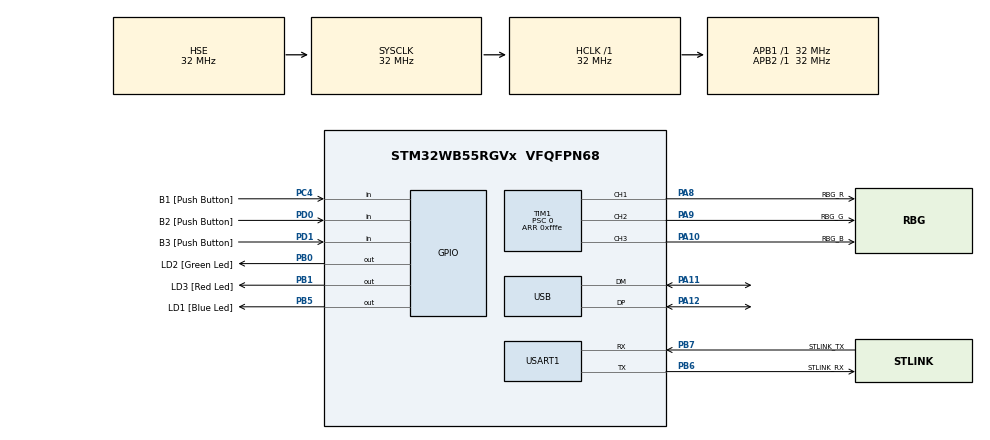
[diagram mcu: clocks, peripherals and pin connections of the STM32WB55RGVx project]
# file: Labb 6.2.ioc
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Mcu.Family=STM32WB
RCC.CortexFreq_Value=32000000
RCC.SMPSCLockSelectionVirtualVirtual=RCC_SMPSCLKSOURCE_HSI
USART1.WordLength=WORDLENGTH_7B
PA14.GPIO_Label=JTCK
PD0.GPIO_Label=B2 [Push Button]
PA11.Mode=Device
PB0.GPIO_Label=LD2 [Green Led]
PB6.GPIO_Label=STLINK_RX
RCC.SYSCLKSource=RCC_SYSCLKSOURCE_HSE
ProjectManager.StackSize=0x400
PA12.Signal=USB_DP
TIM1.Prescaler=0
RCC.HCLKFreq_Value=32000000
RCC.APB2TimFreq_Value=32000000
PB6.Signal=USART1_TX
PB6.Mode=Asynchronous
PD0.Signal=GPIO_Input
OSC_OUT.Mode=HSE-External-Oscillator
OSC_OUT.Signal=RCC_OSC_OUT
RCC.AHBFreq_Value=32000000
RCC.HSE_VALUE=32000000
PB3.Mode=Trace_Asynchronous_SW
PD1.GPIO_Label=B3 [Push Button]
PC14-OSC32_IN.Mode=LSE-External-Oscillator
PC4.GPIO_Label=B1 [Push Button]
TIM1.Channel-PWM\ Generation1\ CH1=TIM_CHANNEL_1
PA14.Mode=Trace_Asynchronous_SW
PB1.GPIO_Label=LD3 [Red Led]
PA10.GPIO_Label=RBG_B
PB7.Signal=USART1_RX
PA8.Signal=S_TIM1_CH1
VP_TIM1_VS_ClockSourceINT.Mode=Internal
RCC.APB3Freq_Value=16000000
PB7.GPIO_Label=STLINK_TX
Mcu.Package=VFQFPN68
PB1.Signal=GPIO_Output
PA10.Signal=S_TIM1_CH3
PB5.GPIO_Label=LD1 [Blue Led]
RCC.APB1TimFreq_Value=32000000
PB0.GPIO_ModeDefaultOutputPP=GPIO_MODE_OUTPUT_PP
TIM1.Period=0xfffe
RCC.SMPSDivider=1
RCC.HSI48_VALUE=48000000
RCC.PLLSAI1N=24
PB3.GPIO_Label=JTDO
PB7.GPIO_PuPd=GPIO_PULLUP
PC15-OSC32_OUT.Mode=LSE-External-Oscillator
PC4.GPIO_PuPd=GPIO_NOPULL
PC13.Signal=SYS_WKUP2
PA9.GPIO_Label=RBG_G
PB6.GPIO_PuPd=GPIO_PULLUP
PC4.Signal=GPIO_Input
PD1.Signal=GPIO_Input
PC14-OSC32_IN.Signal=RCC_OSC32_IN
USART1.VirtualMode-Asynchronous=VM_ASYNC
PA13.Signal=SYS_JTMS-SWDIO
PA8.GPIO_Label=RBG_R
SH.S_TIM1_CH1.0=TIM1_CH1,PWM Generation1 CH1
ProjectManager.TargetToolchain=STM32CubeIDE
PA9.Signal=S_TIM1_CH2
TIM1.Channel-PWM\ Generation2\ CH2=TIM_CHANNEL_2
OSC_IN.Signal=RCC_OSC_IN
RCC.USBFreq_Value=48000000
PC15-OSC32_OUT.Signal=RCC_OSC32_OUT
RCC.SMPSCLockSelectionVirtual=RCC_SMPSCLKSOURCE_HSI
board=NUCLEO-WB55RG
RCC.VCOOutputFreq_Value=128000000
RCC.APB2Freq_Value=32000000
SH.S_TIM1_CH2.0=TIM1_CH2,PWM Generation2 CH2
RCC.ADCFreq_Value=48000000
PA13.Mode=Trace_Asynchronous_SW
PC13.Mode=SYS_WakeUp1
Mcu.Name=STM32WB55RGVx
PA13.GPIO_Label=JTMS
PB3.Signal=SYS_JTDO-SWO
RCC.SYSCLKFreq_VALUE=32000000
PB5.Signal=GPIO_Output
PA12.Mode=Device
OSC_IN.Mode=HSE-External-Oscillator
PB7.Mode=Asynchronous
PA11.Signal=USB_DM
PA14.Signal=SYS_JTCK-SWCLK
ProjectManager.HeapSize=0x200
PD0.GPIO_PuPd=GPIO_PULLUP
SH.S_TIM1_CH3.0=TIM1_CH3,PWM Generation3 CH3
RCC.HSI_VALUE=16000000
NVIC.TIM1_UP_TIM16_IRQn=true\:0\:0\:false\:false\:true\:true\:true
NVIC.PriorityGroup=NVIC_PRIORITYGROUP_4
RCC.PLLN=32
TIM1.Channel-PWM\ Generation3\ CH3=TIM_CHANNEL_3
RCC.APB1Freq_Value=32000000
PB0.Signal=GPIO_Output
PB0.GPIO_PuPd=GPIO_NOPULL

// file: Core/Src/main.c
/* USER CODE BEGIN Header */
/**
 ******************************************************************************
 * @file           : main.c
 * @brief          : Main program body
 ******************************************************************************
 * @attention
 *
 * <h2><center>&copy; Copyright (c) 2021 STMicroelectronics.
 * All rights reserved.</center></h2>
 *
 * This software component is licensed by ST under BSD 3-Clause license,
 * the "License"; You may not use this file except in compliance with the
 * License. You may obtain a copy of the License at:
 *                        opensource.org/licenses/BSD-3-Clause
 *
 ******************************************************************************
 */
/* USER CODE END Header */
#include "main.h"

/* USER CODE BEGIN Includes */
#include "samples.h"
#include "math.h"
#include "stdlib.h"
/* USER CODE END Includes */

/* USER CODE BEGIN PD */
#define _USE_MATH_DEFINES
/* USER CODE END PD */

TIM_HandleTypeDef htim1;

UART_HandleTypeDef huart1;

PCD_HandleTypeDef hpcd_USB_FS;

/* USER CODE BEGIN PV */
static float freq=1;

/* USER CODE END PV */

void SystemClock_Config(void);
static void MX_GPIO_Init(void);
static void MX_USART1_UART_Init(void);
static void MX_USB_PCD_Init(void);
static void MX_TIM1_Init(void);

/* USER CODE BEGIN 0 */
void HAL_TIM_PeriodElapsedCallback(TIM_HandleTypeDef *htim){
	static float time = 0;
	uint16_t value_red   = (uint16_t)((sinf((2*M_PI*time*freq+0)*(2*M_PI/3))+1.0)*500.0);
	uint16_t value_green = (uint16_t)((sinf((2*M_PI*time*freq+1)*(2*M_PI/3))+1.0)*500.0);
	uint16_t value_blue  = (uint16_t)((sinf((2*M_PI*time*freq+2)*(2*M_PI/3))+1.0)*500.0);
	time +=0.001;  // Increase time with 1ms.
	if(time>5)
		time=0.001;

	__HAL_TIM_SET_COMPARE(&htim1,TIM_CHANNEL_1,value_red);
	__HAL_TIM_SET_COMPARE(&htim1,TIM_CHANNEL_2,value_green);
	__HAL_TIM_SET_COMPARE(&htim1,TIM_CHANNEL_3,value_blue);

}
/* USER CODE END 0 */

int main(void)
{

	/* MCU Configuration--------------------------------------------------------*/

	/* Reset of all peripherals, Initializes the Flash interface and the Systick. */
	HAL_Init();

	/* Configure the system clock */
	SystemClock_Config();

	/* Initialize all configured peripherals */
	MX_GPIO_Init();
	MX_USART1_UART_Init();
	MX_USB_PCD_Init();
	MX_TIM1_Init();
	/* USER CODE BEGIN 2 */
	HAL_TIM_Base_Start_IT(&htim1);
	HAL_TIM_PWM_Start(&htim1, TIM_CHANNEL_1);
	HAL_TIM_PWM_Start(&htim1, TIM_CHANNEL_2);
	HAL_TIM_PWM_Start(&htim1, TIM_CHANNEL_3);
	/* USER CODE END 2 */

	/* Infinite loop */
	/* USER CODE BEGIN WHILE */
	while (1)
	{

		if(!HAL_GPIO_ReadPin(B2_GPIO_Port, B2_Pin)){
			freq += 0.1;
			if (freq>2)
				freq=0.1;
			HAL_Delay(500);

		}

		/* USER CODE END WHILE */

	}
}

void SystemClock_Config(void)
{
	RCC_OscInitTypeDef RCC_OscInitStruct = {0};
	RCC_ClkInitTypeDef RCC_ClkInitStruct = {0};
	RCC_PeriphCLKInitTypeDef PeriphClkInitStruct = {0};

	/** Macro to configure the PLL multiplication factor
	 */
	__HAL_RCC_PLL_PLLM_CONFIG(RCC_PLLM_DIV1);
	/** Macro to configure the PLL clock source
	 */
	__HAL_RCC_PLL_PLLSOURCE_CONFIG(RCC_PLLSOURCE_MSI);
	/** Configure LSE Drive Capability
	 */
	HAL_PWR_EnableBkUpAccess();
	__HAL_RCC_LSEDRIVE_CONFIG(RCC_LSEDRIVE_LOW);
	/** Configure the main internal regulator output voltage
	 */
	__HAL_PWR_VOLTAGESCALING_CONFIG(PWR_REGULATOR_VOLTAGE_SCALE1);
	/** Initializes the RCC Oscillators according to the specified parameters
	 * in the RCC_OscInitTypeDef structure.
	 */
	RCC_OscInitStruct.OscillatorType = RCC_OSCILLATORTYPE_HSI|RCC_OSCILLATORTYPE_HSE
			|RCC_OSCILLATORTYPE_LSE|RCC_OSCILLATORTYPE_MSI;
	RCC_OscInitStruct.HSEState = RCC_HSE_ON;
	RCC_OscInitStruct.LSEState = RCC_LSE_ON;
	RCC_OscInitStruct.HSIState = RCC_HSI_ON;
	RCC_OscInitStruct.MSIState = RCC_MSI_ON;
	RCC_OscInitStruct.HSICalibrationValue = RCC_HSICALIBRATION_DEFAULT;
	RCC_OscInitStruct.MSICalibrationValue = RCC_MSICALIBRATION_DEFAULT;
	RCC_OscInitStruct.MSIClockRange = RCC_MSIRANGE_6;
	RCC_OscInitStruct.PLL.PLLState = RCC_PLL_NONE;
	if (HAL_RCC_OscConfig(&RCC_OscInitStruct) != HAL_OK)
	{
		Error_Handler();
	}
	/** Configure the SYSCLKSource, HCLK, PCLK1 and PCLK2 clocks dividers
	 */
	RCC_ClkInitStruct.ClockType = RCC_CLOCKTYPE_HCLK4|RCC_CLOCKTYPE_HCLK2
			|RCC_CLOCKTYPE_HCLK|RCC_CLOCKTYPE_SYSCLK
			|RCC_CLOCKTYPE_PCLK1|RCC_CLOCKTYPE_PCLK2;
	RCC_ClkInitStruct.SYSCLKSource = RCC_SYSCLKSOURCE_HSE;
	RCC_ClkInitStruct.AHBCLKDivider = RCC_SYSCLK_DIV1;
	RCC_ClkInitStruct.APB1CLKDivider = RCC_HCLK_DIV1;
	RCC_ClkInitStruct.APB2CLKDivider = RCC_HCLK_DIV1;
	RCC_ClkInitStruct.AHBCLK2Divider = RCC_SYSCLK_DIV1;
	RCC_ClkInitStruct.AHBCLK4Divider = RCC_SYSCLK_DIV1;

	if (HAL_RCC_ClockConfig(&RCC_ClkInitStruct, FLASH_LATENCY_1) != HAL_OK)
	{
		Error_Handler();
	}
	/** Initializes the peripherals clocks
	 */
	PeriphClkInitStruct.PeriphClockSelection = RCC_PERIPHCLK_SMPS|RCC_PERIPHCLK_USART1
			|RCC_PERIPHCLK_USB;
	PeriphClkInitStruct.PLLSAI1.PLLN = 24;
	PeriphClkInitStruct.PLLSAI1.PLLP = RCC_PLLP_DIV2;
	PeriphClkInitStruct.PLLSAI1.PLLQ = RCC_PLLQ_DIV2;
	PeriphClkInitStruct.PLLSAI1.PLLR = RCC_PLLR_DIV2;
	PeriphClkInitStruct.PLLSAI1.PLLSAI1ClockOut = RCC_PLLSAI1_USBCLK;
	PeriphClkInitStruct.Usart1ClockSelection = RCC_USART1CLKSOURCE_PCLK2;
	PeriphClkInitStruct.UsbClockSelection = RCC_USBCLKSOURCE_PLLSAI1;
	PeriphClkInitStruct.SmpsClockSelection = RCC_SMPSCLKSOURCE_HSI;
	PeriphClkInitStruct.SmpsDivSelection = RCC_SMPSCLKDIV_RANGE0;
	if (HAL_RCCEx_PeriphCLKConfig(&PeriphClkInitStruct) != HAL_OK)
	{
		Error_Handler();
	}
	/** Enable MSI Auto calibration
	 */
	HAL_RCCEx_EnableMSIPLLMode();
}

static void MX_TIM1_Init(void)
{

	TIM_ClockConfigTypeDef sClockSourceConfig = {0};
	TIM_MasterConfigTypeDef sMasterConfig = {0};
	TIM_OC_InitTypeDef sConfigOC = {0};
	TIM_BreakDeadTimeConfigTypeDef sBreakDeadTimeConfig = {0};

	htim1.Instance = TIM1;
	htim1.Init.Prescaler = 0;
	htim1.Init.CounterMode = TIM_COUNTERMODE_UP;
	htim1.Init.Period = 0xfffe;
	htim1.Init.ClockDivision = TIM_CLOCKDIVISION_DIV1;
	htim1.Init.RepetitionCounter = 0;
	htim1.Init.AutoReloadPreload = TIM_AUTORELOAD_PRELOAD_DISABLE;
	if (HAL_TIM_Base_Init(&htim1) != HAL_OK)
	{
		Error_Handler();
	}
	sClockSourceConfig.ClockSource = TIM_CLOCKSOURCE_INTERNAL;
	if (HAL_TIM_ConfigClockSource(&htim1, &sClockSourceConfig) != HAL_OK)
	{
		Error_Handler();
	}
	if (HAL_TIM_PWM_Init(&htim1) != HAL_OK)
	{
		Error_Handler();
	}
	sMasterConfig.MasterOutputTrigger = TIM_TRGO_RESET;
	sMasterConfig.MasterOutputTrigger2 = TIM_TRGO2_RESET;
	sMasterConfig.MasterSlaveMode = TIM_MASTERSLAVEMODE_DISABLE;
	if (HAL_TIMEx_MasterConfigSynchronization(&htim1, &sMasterConfig) != HAL_OK)
	{
		Error_Handler();
	}
	sConfigOC.OCMode = TIM_OCMODE_PWM1;
	sConfigOC.Pulse = 0;
	sConfigOC.OCPolarity = TIM_OCPOLARITY_HIGH;
	sConfigOC.OCNPolarity = TIM_OCNPOLARITY_HIGH;
	sConfigOC.OCFastMode = TIM_OCFAST_DISABLE;
	sConfigOC.OCIdleState = TIM_OCIDLESTATE_RESET;
	sConfigOC.OCNIdleState = TIM_OCNIDLESTATE_RESET;
	if (HAL_TIM_PWM_ConfigChannel(&htim1, &sConfigOC, TIM_CHANNEL_1) != HAL_OK)
	{
		Error_Handler();
	}
	if (HAL_TIM_PWM_ConfigChannel(&htim1, &sConfigOC, TIM_CHANNEL_2) != HAL_OK)
	{
		Error_Handler();
	}
	if (HAL_TIM_PWM_ConfigChannel(&htim1, &sConfigOC, TIM_CHANNEL_3) != HAL_OK)
	{
		Error_Handler();
	}
	sBreakDeadTimeConfig.OffStateRunMode = TIM_OSSR_DISABLE;
	sBreakDeadTimeConfig.OffStateIDLEMode = TIM_OSSI_DISABLE;
	sBreakDeadTimeConfig.LockLevel = TIM_LOCKLEVEL_OFF;
	sBreakDeadTimeConfig.DeadTime = 0;
	sBreakDeadTimeConfig.BreakState = TIM_BREAK_DISABLE;
	sBreakDeadTimeConfig.BreakPolarity = TIM_BREAKPOLARITY_HIGH;
	sBreakDeadTimeConfig.BreakFilter = 0;
	sBreakDeadTimeConfig.BreakAFMode = TIM_BREAK_AFMODE_INPUT;
	sBreakDeadTimeConfig.Break2State = TIM_BREAK2_DISABLE;
	sBreakDeadTimeConfig.Break2Polarity = TIM_BREAK2POLARITY_HIGH;
	sBreakDeadTimeConfig.Break2Filter = 0;
	sBreakDeadTimeConfig.Break2AFMode = TIM_BREAK_AFMODE_INPUT;
	sBreakDeadTimeConfig.AutomaticOutput = TIM_AUTOMATICOUTPUT_DISABLE;
	if (HAL_TIMEx_ConfigBreakDeadTime(&htim1, &sBreakDeadTimeConfig) != HAL_OK)
	{
		Error_Handler();
	}
	HAL_TIM_MspPostInit(&htim1);

}

static void MX_USART1_UART_Init(void)
{

	huart1.Instance = USART1;
	huart1.Init.BaudRate = 115200;
	huart1.Init.WordLength = UART_WORDLENGTH_7B;
	huart1.Init.StopBits = UART_STOPBITS_1;
	huart1.Init.Parity = UART_PARITY_NONE;
	huart1.Init.Mode = UART_MODE_TX_RX;
	huart1.Init.HwFlowCtl = UART_HWCONTROL_NONE;
	huart1.Init.OverSampling = UART_OVERSAMPLING_16;
	huart1.Init.OneBitSampling = UART_ONE_BIT_SAMPLE_DISABLE;
	huart1.Init.ClockPrescaler = UART_PRESCALER_DIV1;
	huart1.AdvancedInit.AdvFeatureInit = UART_ADVFEATURE_NO_INIT;
	if (HAL_UART_Init(&huart1) != HAL_OK)
	{
		Error_Handler();
	}
	if (HAL_UARTEx_SetTxFifoThreshold(&huart1, UART_TXFIFO_THRESHOLD_1_8) != HAL_OK)
	{
		Error_Handler();
	}
	if (HAL_UARTEx_SetRxFifoThreshold(&huart1, UART_RXFIFO_THRESHOLD_1_8) != HAL_OK)
	{
		Error_Handler();
	}
	if (HAL_UARTEx_DisableFifoMode(&huart1) != HAL_OK)
	{
		Error_Handler();
	}

}

static void MX_USB_PCD_Init(void)
{

	hpcd_USB_FS.Instance = USB;
	hpcd_USB_FS.Init.dev_endpoints = 8;
	hpcd_USB_FS.Init.speed = PCD_SPEED_FULL;
	hpcd_USB_FS.Init.phy_itface = PCD_PHY_EMBEDDED;
	hpcd_USB_FS.Init.Sof_enable = DISABLE;
	hpcd_USB_FS.Init.low_power_enable = DISABLE;
	hpcd_USB_FS.Init.lpm_enable = DISABLE;
	hpcd_USB_FS.Init.battery_charging_enable = DISABLE;
	if (HAL_PCD_Init(&hpcd_USB_FS) != HAL_OK)
	{
		Error_Handler();
	}

}

static void MX_GPIO_Init(void)
{
	GPIO_InitTypeDef GPIO_InitStruct = {0};

	/* GPIO Ports Clock Enable */
	__HAL_RCC_GPIOC_CLK_ENABLE();
	__HAL_RCC_GPIOA_CLK_ENABLE();
	__HAL_RCC_GPIOB_CLK_ENABLE();
	__HAL_RCC_GPIOD_CLK_ENABLE();

	/*Configure GPIO pin Output Level */
	HAL_GPIO_WritePin(GPIOB, LD2_Pin|LD3_Pin|LD1_Pin, GPIO_PIN_RESET);

	/*Configure GPIO pin : B1_Pin */
	GPIO_InitStruct.Pin = B1_Pin;
	GPIO_InitStruct.Mode = GPIO_MODE_INPUT;
	GPIO_InitStruct.Pull = GPIO_NOPULL;
	HAL_GPIO_Init(B1_GPIO_Port, &GPIO_InitStruct);

	/*Configure GPIO pins : LD2_Pin LD3_Pin LD1_Pin */
	GPIO_InitStruct.Pin = LD2_Pin|LD3_Pin|LD1_Pin;
	GPIO_InitStruct.Mode = GPIO_MODE_OUTPUT_PP;
	GPIO_InitStruct.Pull = GPIO_NOPULL;
	GPIO_InitStruct.Speed = GPIO_SPEED_FREQ_LOW;
	HAL_GPIO_Init(GPIOB, &GPIO_InitStruct);

	/*Configure GPIO pin : B2_Pin */
	GPIO_InitStruct.Pin = B2_Pin;
	GPIO_InitStruct.Mode = GPIO_MODE_INPUT;
	GPIO_InitStruct.Pull = GPIO_PULLUP;
	HAL_GPIO_Init(B2_GPIO_Port, &GPIO_InitStruct);

	/*Configure GPIO pin : B3_Pin */
	GPIO_InitStruct.Pin = B3_Pin;
	GPIO_InitStruct.Mode = GPIO_MODE_INPUT;
	GPIO_InitStruct.Pull = GPIO_NOPULL;
	HAL_GPIO_Init(B3_GPIO_Port, &GPIO_InitStruct);

}

void Error_Handler(void)
{
	__disable_irq();
	while (1)
	{
	}
}

/************************ (C) COPYRIGHT STMicroelectronics *****END OF FILE****/
